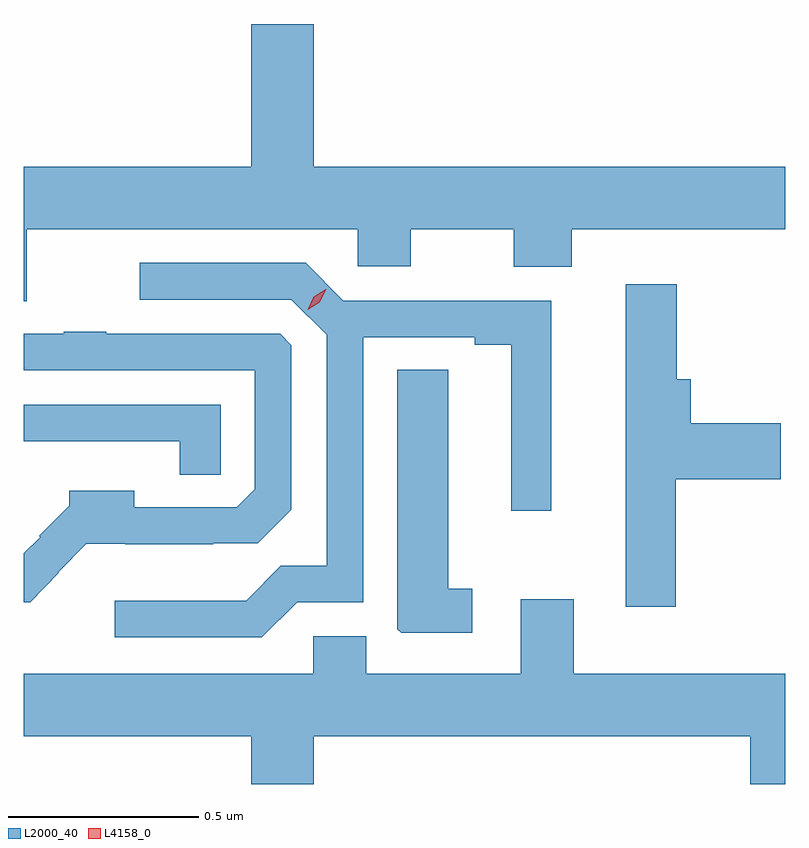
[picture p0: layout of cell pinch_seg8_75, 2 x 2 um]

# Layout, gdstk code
import gdstk
lib = gdstk.Library(unit=1e-6, precision=1e-09)
def P(c, l, *ps):  # polygons
    for p in ps: c.add(gdstk.Polygon(p, *l))
L2000_40 = (2000, 40)
L4158_0 = (4158, 0)

pinch_seg8_75 = lib.new_cell('pinch_seg8_75')
P(pinch_seg8_75, L2000_40, [(931.651,1084.532),(932.52,1084.532),(932.52,1084.434),(932.659,1084.434),(932.659,1084.532),(932.93,1084.532),(932.93,1084.433),(933.083,1084.433),(933.083,1084.532),(933.643,1084.532),(933.643,1084.696),(932.404,1084.696),(932.404,1085.071),(932.24,1085.071),(932.24,1084.696),(931.643,1084.696),(931.643,1084.342),(931.651,1084.342)],
  [(932.361,1083.552),(932.535,1083.552),(932.535,1084.248),(932.828,1084.248),(932.828,1084.228),(932.924,1084.228),(932.924,1083.792),(933.028,1083.792),(933.028,1084.344),(932.482,1084.344),(932.383,1084.443),(931.947,1084.443),(931.947,1084.347),(932.346,1084.347),(932.439,1084.254),(932.439,1083.647),(932.318,1083.647),(932.227,1083.556),(931.881,1083.556),(931.881,1083.459),(932.268,1083.459)],
  [(933.356,1083.875),(933.631,1083.875),(933.631,1084.022),(933.395,1084.022),(933.395,1084.138),(933.359,1084.138),(933.359,1084.387),(933.224,1084.387),(933.224,1083.54),(933.356,1083.54)],
  [(931.735,1083.629),(931.733,1083.631),(931.807,1083.705),(931.909,1083.705),(931.909,1083.704),(932.141,1083.704),(932.141,1083.706),(932.257,1083.706),(932.346,1083.795),(932.346,1084.227),(932.316,1084.257),(931.859,1084.257),(931.859,1084.262),(931.747,1084.262),(931.747,1084.257),(931.643,1084.257),(931.643,1084.161),(932.25,1084.161),(932.25,1083.849),(932.202,1083.801),(931.933,1083.801),(931.933,1083.844),(931.762,1083.844),(931.762,1083.805),(931.683,1083.726),(931.686,1083.723),(931.643,1083.68),(931.643,1083.552),(931.659,1083.552)],
  [(932.821,1083.587),(932.758,1083.587),(932.758,1084.163),(932.624,1084.163),(932.624,1083.481),(932.634,1083.471),(932.821,1083.471)],
  [(932.16,1084.071),(931.643,1084.071),(931.643,1083.975),(931.797,1083.975),(931.797,1083.974),(932.052,1083.974),(932.052,1083.886),(932.16,1083.886)],
  [(932.404,1083.2),(933.551,1083.2),(933.551,1083.074),(933.643,1083.074),(933.643,1083.364),(933.088,1083.364),(933.088,1083.559),(932.948,1083.559),(932.948,1083.364),(932.542,1083.364),(932.542,1083.462),(932.403,1083.462),(932.403,1083.364),(931.643,1083.364),(931.643,1083.2),(932.24,1083.2),(932.24,1083.074),(932.404,1083.074)])
P(pinch_seg8_75, L4158_0, [(932.389,1084.32),(932.389,1084.32),(932.405,1084.354),(932.436,1084.374),(932.437,1084.374),(932.437,1084.374),(932.42,1084.34),(932.389,1084.32)])

lib.write_gds('pinch_seg8_75.gds')
